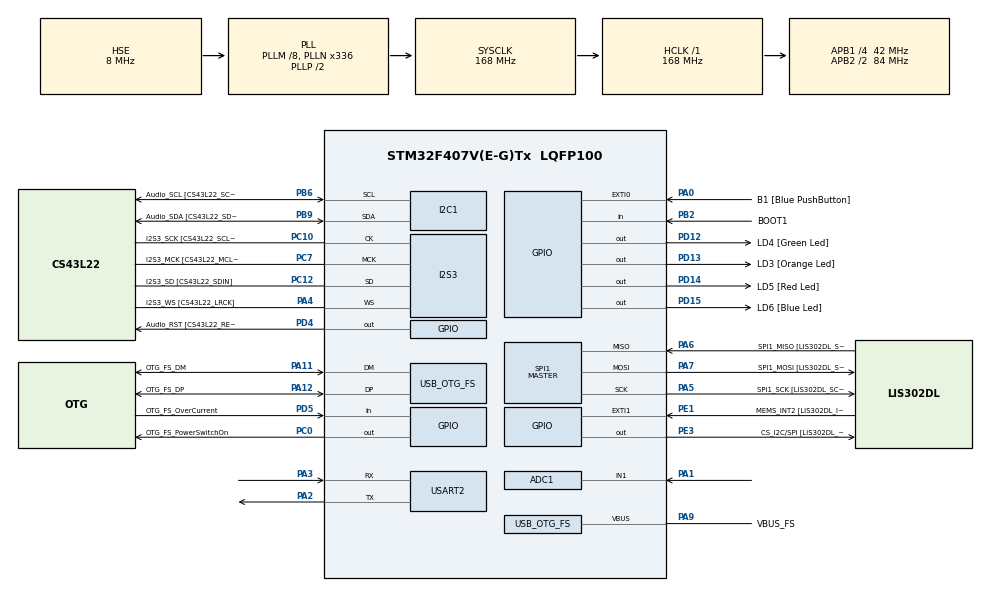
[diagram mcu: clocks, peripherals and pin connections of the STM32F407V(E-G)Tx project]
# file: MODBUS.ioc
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ADC1.Channel-0\#ChannelRegularConversion=ADC_CHANNEL_1
ADC1.ContinuousConvMode=ENABLE
ADC1.DMAContinuousRequests=ENABLE
ADC1.EOCSelection=ADC_EOC_SINGLE_CONV
ADC1.NbrOfConversionFlag=1
ADC1.Rank-0\#ChannelRegularConversion=1
ADC1.SamplingTime-0\#ChannelRegularConversion=ADC_SAMPLETIME_3CYCLES
ADC1.master=1
I2S3.AudioFreq-Half_Duplex_Master=I2S_AUDIOFREQ_96K
I2S3.ErrorAudioFreq=-2.34 %
I2S3.ErrorAudioFreq-Half_Duplex_Master=0.8 %
I2S3.FullDuplexMode=I2S_FULLDUPLEXMODE_DISABLE
I2S3.Instance=SPI$Index
I2S3.RealAudioFreq=93.75 KHz
I2S3.RealAudioFreq-Half_Duplex_Master=96.774 KHz
I2S3.VirtualMode=I2S_MODE_MASTER
Mcu.Family=STM32F4
Mcu.Name=STM32F407V(E-G)Tx
Mcu.Package=LQFP100
NVIC.ADC_IRQn=true\:0\:0\:false\:false\:true\:true\:true
NVIC.OTG_FS_IRQn=true\:0\:0\:false\:false\:true\:true\:true
NVIC.PriorityGroup=NVIC_PRIORITYGROUP_0
NVIC.USART2_IRQn=true\:0\:0\:false\:false\:true\:true\:true
PA0-WKUP.GPIO_Label=B1 [Blue PushButton]
PA0-WKUP.GPIO_ModeDefaultEXTI=GPIO_MODE_EVT_RISING
PA0-WKUP.GPIO_PuPd=GPIO_NOPULL
PA0-WKUP.Signal=GPXTI0
PA1.Signal=ADCx_IN1
PA10.GPIO_Label=OTG_FS_ID
PA10.GPIO_Mode=GPIO_MODE_AF_PP
PA10.GPIO_PuPd=GPIO_NOPULL
PA10.GPIO_Speed=GPIO_SPEED_FREQ_LOW
PA10.Signal=USB_OTG_FS_ID
PA11.GPIO_Label=OTG_FS_DM
PA11.GPIO_Mode=GPIO_MODE_AF_PP
PA11.GPIO_PuPd=GPIO_NOPULL
PA11.GPIO_Speed=GPIO_SPEED_FREQ_LOW
PA11.Mode=Host_Only
PA11.Signal=USB_OTG_FS_DM
PA12.GPIO_Label=OTG_FS_DP
PA12.GPIO_Mode=GPIO_MODE_AF_PP
PA12.GPIO_PuPd=GPIO_NOPULL
PA12.GPIO_Speed=GPIO_SPEED_FREQ_LOW
PA12.Mode=Host_Only
PA12.Signal=USB_OTG_FS_DP
PA13.GPIO_Label=SWDIO
PA13.Mode=Serial_Wire
PA13.Signal=SYS_JTMS-SWDIO
PA14.GPIO_Label=SWCLK
PA14.Mode=Serial_Wire
PA14.Signal=SYS_JTCK-SWCLK
PA2.Mode=Asynchronous
PA2.Signal=USART2_TX
PA3.Mode=Asynchronous
PA3.Signal=USART2_RX
PA4.GPIO_Label=I2S3_WS [CS43L22_LRCK]
PA4.GPIO_Mode=GPIO_MODE_AF_PP
PA4.GPIO_PuPd=GPIO_NOPULL
PA4.GPIO_Speed=GPIO_SPEED_FREQ_LOW
PA4.Mode=Half_Duplex_Master
PA4.Signal=I2S3_WS
PA5.GPIO_Label=SPI1_SCK [LIS302DL_SCL/SPC]
PA5.GPIO_Mode=GPIO_MODE_AF_PP
PA5.GPIO_PuPd=GPIO_NOPULL
PA5.GPIO_Speed=GPIO_SPEED_FREQ_LOW
PA5.Mode=Full_Duplex_Master
PA5.Signal=SPI1_SCK
PA6.GPIO_Label=SPI1_MISO [LIS302DL_SDO]
PA6.GPIO_Mode=GPIO_MODE_AF_PP
PA6.GPIO_PuPd=GPIO_NOPULL
PA6.GPIO_Speed=GPIO_SPEED_FREQ_LOW
PA6.Mode=Full_Duplex_Master
PA6.Signal=SPI1_MISO
PA7.GPIO_Label=SPI1_MOSI [LIS302DL_SDA/SDI/SDO]
PA7.GPIO_Mode=GPIO_MODE_AF_PP
PA7.GPIO_PuPd=GPIO_NOPULL
PA7.GPIO_Speed=GPIO_SPEED_FREQ_LOW
PA7.Mode=Full_Duplex_Master
PA7.Signal=SPI1_MOSI
PA9.GPIO_Label=VBUS_FS
PA9.GPIO_Mode=GPIO_MODE_INPUT
PA9.GPIO_PuPd=GPIO_NOPULL
PA9.Mode=Activate_VBUS
PA9.Signal=USB_OTG_FS_VBUS
PB10.GPIO_Label=CLK_IN [MP45DT02_CLK]
PB10.GPIO_Mode=GPIO_MODE_AF_PP
PB10.GPIO_PuPd=GPIO_NOPULL
PB10.GPIO_Speed=GPIO_SPEED_FREQ_LOW
PB10.Signal=I2S2_CK
PB2.GPIO_Label=BOOT1
PB2.GPIO_Mode=GPIO_MODE_INPUT
PB2.GPIO_PuPd=GPIO_NOPULL
PB2.Signal=GPIO_Input
PB3.GPIO_Label=SWO
PB3.Signal=SYS_JTDO-SWO
PB6.GPIO_Label=Audio_SCL [CS43L22_SCL]
PB6.GPIO_Mode=GPIO_MODE_AF_OD
PB6.GPIO_PuPd=GPIO_NOPULL
PB6.GPIO_Speed=GPIO_SPEED_FREQ_LOW
PB6.Mode=I2C
PB6.Signal=I2C1_SCL
PB9.GPIO_Label=Audio_SDA [CS43L22_SDA]
PB9.GPIO_Mode=GPIO_MODE_AF_OD
PB9.GPIO_PuPd=GPIO_NOPULL
PB9.GPIO_Speed=GPIO_SPEED_FREQ_LOW
PB9.Mode=I2C
PB9.Signal=I2C1_SDA
PC0.GPIO_Label=OTG_FS_PowerSwitchOn
PC0.GPIO_PuPd=GPIO_NOPULL
PC0.GPIO_Speed=GPIO_SPEED_FREQ_LOW
PC0.PinState=GPIO_PIN_SET
PC0.Signal=GPIO_Output
PC10.GPIO_Label=I2S3_SCK [CS43L22_SCLK]
PC10.GPIO_Mode=GPIO_MODE_AF_PP
PC10.GPIO_PuPd=GPIO_NOPULL
PC10.GPIO_Speed=GPIO_SPEED_FREQ_LOW
PC10.Mode=Half_Duplex_Master
PC10.Signal=I2S3_CK
PC12.GPIO_Label=I2S3_SD [CS43L22_SDIN]
PC12.GPIO_Mode=GPIO_MODE_AF_PP
PC12.GPIO_PuPd=GPIO_NOPULL
PC12.GPIO_Speed=GPIO_SPEED_FREQ_LOW
PC12.Mode=Half_Duplex_Master
PC12.Signal=I2S3_SD
PC14-OSC32_IN.GPIO_Label=PC14-OSC32_IN
PC14-OSC32_IN.Mode=LSE-External-Oscillator
PC14-OSC32_IN.Signal=RCC_OSC32_IN
PC15-OSC32_OUT.GPIO_Label=PC15-OSC32_OUT
PC15-OSC32_OUT.Mode=LSE-External-Oscillator
PC15-OSC32_OUT.Signal=RCC_OSC32_OUT
PC3.GPIO_Label=PDM_OUT [MP45DT02_DOUT]
PC3.GPIO_Mode=GPIO_MODE_AF_PP
PC3.GPIO_PuPd=GPIO_NOPULL
PC3.GPIO_Speed=GPIO_SPEED_FREQ_LOW
PC3.Signal=I2S2_SD
PC7.GPIO_Label=I2S3_MCK [CS43L22_MCLK]
PC7.GPIO_Mode=GPIO_MODE_AF_PP
PC7.GPIO_PuPd=GPIO_NOPULL
PC7.GPIO_Speed=GPIO_SPEED_FREQ_LOW
PC7.Mode=Master_Clock_Activated
PC7.Signal=I2S3_MCK
PD12.GPIO_Label=LD4 [Green Led]
PD12.GPIO_PuPd=GPIO_NOPULL
PD12.GPIO_Speed=GPIO_SPEED_FREQ_LOW
PD12.Signal=GPIO_Output
PD13.GPIO_Label=LD3 [Orange Led]
PD13.GPIO_PuPd=GPIO_NOPULL
PD13.GPIO_Speed=GPIO_SPEED_FREQ_LOW
PD13.Signal=GPIO_Output
PD14.GPIO_Label=LD5 [Red Led]
PD14.GPIO_PuPd=GPIO_NOPULL
PD14.GPIO_Speed=GPIO_SPEED_FREQ_LOW
PD14.Signal=GPIO_Output
PD15.GPIO_Label=LD6 [Blue Led]
PD15.GPIO_PuPd=GPIO_NOPULL
PD15.GPIO_Speed=GPIO_SPEED_FREQ_LOW
PD15.Signal=GPIO_Output
PD4.GPIO_Label=Audio_RST [CS43L22_RESET]
PD4.GPIO_PuPd=GPIO_NOPULL
PD4.GPIO_Speed=GPIO_SPEED_FREQ_LOW
PD4.Signal=GPIO_Output
PD5.GPIO_Label=OTG_FS_OverCurrent
PD5.GPIO_Mode=GPIO_MODE_INPUT
PD5.GPIO_PuPd=GPIO_NOPULL
PD5.Signal=GPIO_Input
PE1.GPIO_Label=MEMS_INT2 [LIS302DL_INT2]
PE1.GPIO_ModeDefaultEXTI=GPIO_MODE_EVT_RISING
PE1.GPIO_PuPd=GPIO_NOPULL
PE1.Signal=GPXTI1
PE3.GPIO_Label=CS_I2C/SPI [LIS302DL_CS_I2C/SPI]
PE3.GPIO_PuPd=GPIO_NOPULL
PE3.GPIO_Speed=GPIO_SPEED_FREQ_LOW
PE3.Signal=GPIO_Output
PH0-OSC_IN.GPIO_Label=PH0-OSC_IN
PH0-OSC_IN.Mode=HSE-External-Oscillator
PH0-OSC_IN.Signal=RCC_OSC_IN
PH1-OSC_OUT.GPIO_Label=PH1-OSC_OUT
PH1-OSC_OUT.Mode=HSE-External-Oscillator
PH1-OSC_OUT.Signal=RCC_OSC_OUT
ProjectManager.HeapSize=0x200
ProjectManager.StackSize=0x400
ProjectManager.TargetToolchain=MDK-ARM V5
RCC.48MHZClocksFreq_Value=48000000
RCC.AHBFreq_Value=168000000
RCC.APB1CLKDivider=RCC_HCLK_DIV4
RCC.APB1Freq_Value=42000000
RCC.APB1TimFreq_Value=84000000
RCC.APB2CLKDivider=RCC_HCLK_DIV2
RCC.APB2Freq_Value=84000000
RCC.APB2TimFreq_Value=168000000
RCC.CortexFreq_Value=168000000
RCC.HCLKFreq_Value=168000000
RCC.HSE_VALUE=8000000
RCC.HSI_VALUE=16000000
RCC.PLLM=8
RCC.PLLN=336
RCC.PLLQ=7
RCC.SYSCLKFreq_VALUE=168000000
RCC.SYSCLKSource=RCC_SYSCLKSOURCE_PLLCLK
RCC.VCOOutputFreq_Value=336000000
SH.ADCx_IN1.0=ADC1_IN1,IN1
SPI1.BaudRatePrescaler-Full_Duplex_Master=SPI_BAUDRATEPRESCALER_2
SPI1.CalculateBaudRate-Full_Duplex_Master=42.0 MBits/s
SPI1.Direction=SPI_DIRECTION_2LINES
SPI1.Mode=SPI_MODE_MASTER
SPI1.Mode-Full_Duplex_Master=SPI_MODE_MASTER
SPI1.VirtualType=VM_MASTER
USART2.VirtualMode=VM_ASYNC
USB_HOST.BSP.number=1
USB_HOST.USBH_HandleTypeDef-CDC_FS=hUsbHostFS
USB_HOST.VirtualModeFS=Cdc
USB_HOST0.BSP.STBoard=false
USB_HOST0.BSP.api=Unknown
USB_HOST0.BSP.i2caddr=0
USB_HOST0.BSP.i2creg=0
USB_HOST0.BSP.instance=PC0
USB_HOST0.BSP.ip=GPIO
USB_HOST0.BSP.mode=Output
USB_HOST0.BSP.name=Drive_VBUS_FS
USB_HOST0.BSP.solution=PC0
USB_OTG_FS.VirtualMode=Host_Only
USB_OTG_FS.phy_itface=HCD_PHY_EMBEDDED
VP_USB_HOST_VS_USB_HOST_CDC_FS.Mode=CDC_FS
board=STM32F4DISCOVERY

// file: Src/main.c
/* USER CODE BEGIN Header */
/**
  ******************************************************************************
  * @file           : main.c
  * @brief          : Main program body
  ******************************************************************************
  * @attention
  *
  * <h2><center>&copy; Copyright (c) 2019 STMicroelectronics.
  * All rights reserved.</center></h2>
  *
  * This software component is licensed by ST under Ultimate Liberty license
  * SLA0044, the "License"; You may not use this file except in compliance with
  * the License. You may obtain a copy of the License at:
  *                             www.st.com/SLA0044
  *
  ******************************************************************************
  */
/* USER CODE END Header */

#include "main.h"
#include "usb_host.h"
#include "math.h"

ADC_HandleTypeDef hadc1;

I2C_HandleTypeDef hi2c1;

I2S_HandleTypeDef hi2s3;

SPI_HandleTypeDef hspi1;

UART_HandleTypeDef huart2;

/* USER CODE BEGIN PV */
extern  uint8_t Rx_Byte;
extern  uint8_t Rx_Data[20];
extern  uint8_t Rx_DataCnt;
extern  uint8_t Rx_Flag;
int ADCValue;
uint8_t temp;
uint8_t ModbusData[4];
/* USER CODE END PV */

void SystemClock_Config(void);
static void MX_GPIO_Init(void);
static void MX_ADC1_Init(void);
static void MX_I2C1_Init(void);
static void MX_I2S3_Init(void);
static void MX_SPI1_Init(void);
static void MX_USART2_UART_Init(void);
void MX_USB_HOST_Process(void);

/* USER CODE BEGIN PFP */
double Termistor(int analogValue){
   double temperature;
   temperature = log(((40950000 / analogValue) - 10000));
	 temperature = 1/ (0.001129148 + (0.000234125 +(0.0000000876741 * temperature * temperature)) * temperature);
	 temperature = temperature - 273.15;
	 return temperature;
}
/* USER CODE END PFP */

int main(void)
{
  /* USER CODE BEGIN 1 */
	ModbusData[0]= 122;
	ModbusData[1]= 4;
	ModbusData[2]= 3;

  /* USER CODE END 1 */

  /* MCU Configuration--------------------------------------------------------*/

  /* Reset of all peripherals, Initializes the Flash interface and the Systick. */
  HAL_Init();

  /* Configure the system clock */
  SystemClock_Config();

  /* Initialize all configured peripherals */
  MX_GPIO_Init();
  MX_ADC1_Init();
  MX_I2C1_Init();
  MX_I2S3_Init();
  MX_SPI1_Init();
  MX_USART2_UART_Init();
  MX_USB_HOST_Init();
  /* USER CODE BEGIN 2 */
  __HAL_UART_ENABLE_IT(&huart2,UART_IT_RXNE);
	  HAL_ADC_Start(&hadc1);
  /* USER CODE END 2 */

  /* Infinite loop */
  while (1)
  {
    MX_USB_HOST_Process();

    /* USER CODE BEGIN 3 */

		if(Rx_Flag)
		{
			ADCValue = HAL_ADC_GetValue(&hadc1);
			temp = (uint8_t)Termistor(ADCValue);
			ModbusData[3]= temp;

			HAL_UART_Transmit(&huart2,ModbusData,4 ,1000);
			Rx_Flag = 0;
		}

  }
  /* USER CODE END 3 */
}

void SystemClock_Config(void)
{
  RCC_OscInitTypeDef RCC_OscInitStruct = {0};
  RCC_ClkInitTypeDef RCC_ClkInitStruct = {0};
  RCC_PeriphCLKInitTypeDef PeriphClkInitStruct = {0};

  /** Configure the main internal regulator output voltage
  */
  __HAL_RCC_PWR_CLK_ENABLE();
  __HAL_PWR_VOLTAGESCALING_CONFIG(PWR_REGULATOR_VOLTAGE_SCALE1);
  /** Initializes the CPU, AHB and APB busses clocks
  */
  RCC_OscInitStruct.OscillatorType = RCC_OSCILLATORTYPE_HSE;
  RCC_OscInitStruct.HSEState = RCC_HSE_ON;
  RCC_OscInitStruct.PLL.PLLState = RCC_PLL_ON;
  RCC_OscInitStruct.PLL.PLLSource = RCC_PLLSOURCE_HSE;
  RCC_OscInitStruct.PLL.PLLM = 8;
  RCC_OscInitStruct.PLL.PLLN = 336;
  RCC_OscInitStruct.PLL.PLLP = RCC_PLLP_DIV2;
  RCC_OscInitStruct.PLL.PLLQ = 7;
  if (HAL_RCC_OscConfig(&RCC_OscInitStruct) != HAL_OK)
  {
    Error_Handler();
  }
  /** Initializes the CPU, AHB and APB busses clocks
  */
  RCC_ClkInitStruct.ClockType = RCC_CLOCKTYPE_HCLK|RCC_CLOCKTYPE_SYSCLK
                              |RCC_CLOCKTYPE_PCLK1|RCC_CLOCKTYPE_PCLK2;
  RCC_ClkInitStruct.SYSCLKSource   = RCC_SYSCLKSOURCE_PLLCLK;
  RCC_ClkInitStruct.AHBCLKDivider  = RCC_SYSCLK_DIV1;
  RCC_ClkInitStruct.APB1CLKDivider = RCC_HCLK_DIV4;
  RCC_ClkInitStruct.APB2CLKDivider = RCC_HCLK_DIV2;

  if (HAL_RCC_ClockConfig(&RCC_ClkInitStruct, FLASH_LATENCY_5) != HAL_OK)
  {
    Error_Handler();
  }
  PeriphClkInitStruct.PeriphClockSelection = RCC_PERIPHCLK_I2S;
  PeriphClkInitStruct.PLLI2S.PLLI2SN = 192;
  PeriphClkInitStruct.PLLI2S.PLLI2SR = 2;
  if (HAL_RCCEx_PeriphCLKConfig(&PeriphClkInitStruct) != HAL_OK)
  {
    Error_Handler();
  }
}

static void MX_ADC1_Init(void)
{

  ADC_ChannelConfTypeDef sConfig = {0};

  /** Configure the global features of the ADC (Clock, Resolution, Data Alignment and number of conversion)
  */
  hadc1.Instance = ADC1;
  hadc1.Init.ClockPrescaler = ADC_CLOCK_SYNC_PCLK_DIV4;
  hadc1.Init.Resolution = ADC_RESOLUTION_12B;
  hadc1.Init.ScanConvMode = DISABLE;
  hadc1.Init.ContinuousConvMode = ENABLE;
  hadc1.Init.DiscontinuousConvMode = DISABLE;
  hadc1.Init.ExternalTrigConvEdge = ADC_EXTERNALTRIGCONVEDGE_NONE;
  hadc1.Init.ExternalTrigConv = ADC_SOFTWARE_START;
  hadc1.Init.DataAlign = ADC_DATAALIGN_RIGHT;
  hadc1.Init.NbrOfConversion = 1;
  hadc1.Init.DMAContinuousRequests = ENABLE;
  hadc1.Init.EOCSelection = ADC_EOC_SEQ_CONV;
  if (HAL_ADC_Init(&hadc1) != HAL_OK)
  {
    Error_Handler();
  }
  /** Configure for the selected ADC regular channel its corresponding rank in the sequencer and its sample time.
  */
  sConfig.Channel = ADC_CHANNEL_1;
  sConfig.Rank = 1;
  sConfig.SamplingTime = ADC_SAMPLETIME_3CYCLES;
  if (HAL_ADC_ConfigChannel(&hadc1, &sConfig) != HAL_OK)
  {
    Error_Handler();
  }

}

static void MX_I2C1_Init(void)
{

  hi2c1.Instance = I2C1;
  hi2c1.Init.ClockSpeed = 100000;
  hi2c1.Init.DutyCycle = I2C_DUTYCYCLE_2;
  hi2c1.Init.OwnAddress1 = 0;
  hi2c1.Init.AddressingMode = I2C_ADDRESSINGMODE_7BIT;
  hi2c1.Init.DualAddressMode = I2C_DUALADDRESS_DISABLE;
  hi2c1.Init.OwnAddress2 = 0;
  hi2c1.Init.GeneralCallMode = I2C_GENERALCALL_DISABLE;
  hi2c1.Init.NoStretchMode = I2C_NOSTRETCH_DISABLE;
  if (HAL_I2C_Init(&hi2c1) != HAL_OK)
  {
    Error_Handler();
  }

}

static void MX_I2S3_Init(void)
{

  hi2s3.Instance = SPI3;
  hi2s3.Init.Mode = I2S_MODE_MASTER_TX;
  hi2s3.Init.Standard = I2S_STANDARD_PHILIPS;
  hi2s3.Init.DataFormat = I2S_DATAFORMAT_16B;
  hi2s3.Init.MCLKOutput = I2S_MCLKOUTPUT_ENABLE;
  hi2s3.Init.AudioFreq = I2S_AUDIOFREQ_96K;
  hi2s3.Init.CPOL = I2S_CPOL_LOW;
  hi2s3.Init.ClockSource = I2S_CLOCK_PLL;
  hi2s3.Init.FullDuplexMode = I2S_FULLDUPLEXMODE_DISABLE;
  if (HAL_I2S_Init(&hi2s3) != HAL_OK)
  {
    Error_Handler();
  }

}

static void MX_SPI1_Init(void)
{

  /* SPI1 parameter configuration*/
  hspi1.Instance = SPI1;
  hspi1.Init.Mode = SPI_MODE_MASTER;
  hspi1.Init.Direction = SPI_DIRECTION_2LINES;
  hspi1.Init.DataSize = SPI_DATASIZE_8BIT;
  hspi1.Init.CLKPolarity = SPI_POLARITY_LOW;
  hspi1.Init.CLKPhase = SPI_PHASE_1EDGE;
  hspi1.Init.NSS = SPI_NSS_SOFT;
  hspi1.Init.BaudRatePrescaler = SPI_BAUDRATEPRESCALER_2;
  hspi1.Init.FirstBit = SPI_FIRSTBIT_MSB;
  hspi1.Init.TIMode = SPI_TIMODE_DISABLE;
  hspi1.Init.CRCCalculation = SPI_CRCCALCULATION_DISABLE;
  hspi1.Init.CRCPolynomial = 10;
  if (HAL_SPI_Init(&hspi1) != HAL_OK)
  {
    Error_Handler();
  }

}

static void MX_USART2_UART_Init(void)
{

  huart2.Instance = USART2;
  huart2.Init.BaudRate = 9600;
  huart2.Init.WordLength = UART_WORDLENGTH_8B;
  huart2.Init.StopBits = UART_STOPBITS_1;
  huart2.Init.Parity = UART_PARITY_NONE;
  huart2.Init.Mode = UART_MODE_TX_RX;
  huart2.Init.HwFlowCtl = UART_HWCONTROL_NONE;
  huart2.Init.OverSampling = UART_OVERSAMPLING_16;
  if (HAL_UART_Init(&huart2) != HAL_OK)
  {
    Error_Handler();
  }

}

static void MX_GPIO_Init(void)
{
  GPIO_InitTypeDef GPIO_InitStruct = {0};

  /* GPIO Ports Clock Enable */
  __HAL_RCC_GPIOE_CLK_ENABLE();
  __HAL_RCC_GPIOC_CLK_ENABLE();
  __HAL_RCC_GPIOH_CLK_ENABLE();
  __HAL_RCC_GPIOA_CLK_ENABLE();
  __HAL_RCC_GPIOB_CLK_ENABLE();
  __HAL_RCC_GPIOD_CLK_ENABLE();

  /*Configure GPIO pin Output Level */
  HAL_GPIO_WritePin(CS_I2C_SPI_GPIO_Port, CS_I2C_SPI_Pin, GPIO_PIN_RESET);

  /*Configure GPIO pin Output Level */
  HAL_GPIO_WritePin(OTG_FS_PowerSwitchOn_GPIO_Port, OTG_FS_PowerSwitchOn_Pin, GPIO_PIN_SET);

  /*Configure GPIO pin Output Level */
  HAL_GPIO_WritePin(GPIOD, LD4_Pin|LD3_Pin|LD5_Pin|LD6_Pin
                          |Audio_RST_Pin, GPIO_PIN_RESET);

  /*Configure GPIO pin : CS_I2C_SPI_Pin */
  GPIO_InitStruct.Pin = CS_I2C_SPI_Pin;
  GPIO_InitStruct.Mode = GPIO_MODE_OUTPUT_PP;
  GPIO_InitStruct.Pull = GPIO_NOPULL;
  GPIO_InitStruct.Speed = GPIO_SPEED_FREQ_LOW;
  HAL_GPIO_Init(CS_I2C_SPI_GPIO_Port, &GPIO_InitStruct);

  /*Configure GPIO pin : OTG_FS_PowerSwitchOn_Pin */
  GPIO_InitStruct.Pin = OTG_FS_PowerSwitchOn_Pin;
  GPIO_InitStruct.Mode = GPIO_MODE_OUTPUT_PP;
  GPIO_InitStruct.Pull = GPIO_NOPULL;
  GPIO_InitStruct.Speed = GPIO_SPEED_FREQ_LOW;
  HAL_GPIO_Init(OTG_FS_PowerSwitchOn_GPIO_Port, &GPIO_InitStruct);

  /*Configure GPIO pin : PDM_OUT_Pin */
  GPIO_InitStruct.Pin = PDM_OUT_Pin;
  GPIO_InitStruct.Mode = GPIO_MODE_AF_PP;
  GPIO_InitStruct.Pull = GPIO_NOPULL;
  GPIO_InitStruct.Speed = GPIO_SPEED_FREQ_LOW;
  GPIO_InitStruct.Alternate = GPIO_AF5_SPI2;
  HAL_GPIO_Init(PDM_OUT_GPIO_Port, &GPIO_InitStruct);

  /*Configure GPIO pin : B1_Pin */
  GPIO_InitStruct.Pin = B1_Pin;
  GPIO_InitStruct.Mode = GPIO_MODE_EVT_RISING;
  GPIO_InitStruct.Pull = GPIO_NOPULL;
  HAL_GPIO_Init(B1_GPIO_Port, &GPIO_InitStruct);

  /*Configure GPIO pin : BOOT1_Pin */
  GPIO_InitStruct.Pin = BOOT1_Pin;
  GPIO_InitStruct.Mode = GPIO_MODE_INPUT;
  GPIO_InitStruct.Pull = GPIO_NOPULL;
  HAL_GPIO_Init(BOOT1_GPIO_Port, &GPIO_InitStruct);

  /*Configure GPIO pin : CLK_IN_Pin */
  GPIO_InitStruct.Pin = CLK_IN_Pin;
  GPIO_InitStruct.Mode = GPIO_MODE_AF_PP;
  GPIO_InitStruct.Pull = GPIO_NOPULL;
  GPIO_InitStruct.Speed = GPIO_SPEED_FREQ_LOW;
  GPIO_InitStruct.Alternate = GPIO_AF5_SPI2;
  HAL_GPIO_Init(CLK_IN_GPIO_Port, &GPIO_InitStruct);

  /*Configure GPIO pins : LD4_Pin LD3_Pin LD5_Pin LD6_Pin
                           Audio_RST_Pin */
  GPIO_InitStruct.Pin = LD4_Pin|LD3_Pin|LD5_Pin|LD6_Pin
                          |Audio_RST_Pin;
  GPIO_InitStruct.Mode = GPIO_MODE_OUTPUT_PP;
  GPIO_InitStruct.Pull = GPIO_NOPULL;
  GPIO_InitStruct.Speed = GPIO_SPEED_FREQ_LOW;
  HAL_GPIO_Init(GPIOD, &GPIO_InitStruct);

  /*Configure GPIO pin : OTG_FS_OverCurrent_Pin */
  GPIO_InitStruct.Pin = OTG_FS_OverCurrent_Pin;
  GPIO_InitStruct.Mode = GPIO_MODE_INPUT;
  GPIO_InitStruct.Pull = GPIO_NOPULL;
  HAL_GPIO_Init(OTG_FS_OverCurrent_GPIO_Port, &GPIO_InitStruct);

  /*Configure GPIO pin : MEMS_INT2_Pin */
  GPIO_InitStruct.Pin = MEMS_INT2_Pin;
  GPIO_InitStruct.Mode = GPIO_MODE_EVT_RISING;
  GPIO_InitStruct.Pull = GPIO_NOPULL;
  HAL_GPIO_Init(MEMS_INT2_GPIO_Port, &GPIO_InitStruct);

}

void Error_Handler(void)
{
}

/************************ (C) COPYRIGHT STMicroelectronics *****END OF FILE****/
